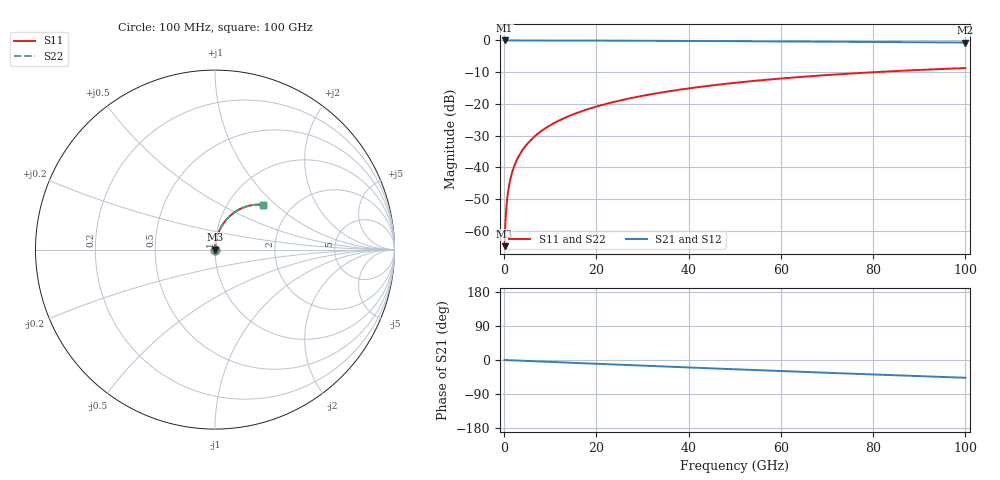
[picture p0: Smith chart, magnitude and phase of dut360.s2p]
! Touchstone file exported from HFSS 2026.1.0
!  File:  C:/ffzhzh/LocalFiles/Ansys_Project_Files/temp_train_TSV_360_1783510174_55944.aedt
!  Generated:  07:30:50 PM Jul  8, 2026
!  Design:  TSV
!  Project:  temp_train_TSV_360_1783510174_55944
! Variables:
!  h_bsmrdl = 2um
!  h_ox = 20um
!  h_rdl = 5um
!  h_sub = 79.44um
!  h_tmrdl = 5um
!  h_tsv = 79.44um
!  h_via = 3um
!  l_bsmrdl = 300um
!  l_sub = 412.08um
!  l_tmrdl = 200um
!  m_sub = 200um
!  pitch = 57.34um
!  r_tsv = 6.04um
!  s_tmrdl = 10um
!  w_bsmrdl = 18um
!  w_sub = 500um
!  w_tmrdl = 12um
!  x_tsv_center1 = 206um
!  x_tsv_center2 = 524um
!  x_tsv_center3 = 736um
!  x_tsv_center4 = 1054um
!  x_tsv_center5 = 1266um
!  x_tsv_center6 = 1584um
# GHz S MA R 50.000000
! Terminal data exported
! Port[1] = TSV1_1_T1
! Port[2] = TSV1_1_T2
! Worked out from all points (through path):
!   1000 points, 100 MHz to 100 GHz, reference 50 ohm
!   highest |S21| = 0.00 dB at 100 MHz (marker M1); lowest = -0.7 dB at 100 GHz (marker M2)
!   group delay of S21, straight-line fit = 1.3 ps
!   lowest |S11| = -64.8 dB at 100 MHz (marker M3), VSWR 1.00, Z = 50 + j0.0499 ohm
!   |S11| at or under -10 dB: start of sweep to 80.23 GHz
!   |S22| runs from -64.8 to -8.7 dB; largest |S21 - S12| = 3.5e-15
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0.1  0.0005727 60.6  0.9997 -0.1  0.9997 -0.1  0.0005727 60.6
! Gamma 0 0 0 0
! Port Impedance 50 0 50 0
0.3  0.001506 78.1  0.9997 -0.2  0.9997 -0.2  0.001506 78.1
0.7  0.003414 83.8  0.9996 -0.4  0.9996 -0.4  0.003414 83.8
0.8  0.003892 84.3  0.9996 -0.4  0.9996 -0.4  0.003892 84.3
1  0.004847 85.0  0.9996 -0.5  0.9996 -0.5  0.004847 85.0
1.3  0.006275 85.5  0.9996 -0.7  0.9996 -0.7  0.006275 85.5
1.7  0.008166 85.7  0.9995 -0.9  0.9995 -0.9  0.008166 85.7
2.3  0.01098 85.8  0.9994 -1.2  0.9994 -1.2  0.01098 85.8
3  0.01422 85.7  0.9992 -1.5  0.9992 -1.5  0.01422 85.7
3.8  0.0179 85.6  0.9991 -1.9  0.9991 -1.9  0.0179 85.6
4.8  0.02248 85.3  0.9989 -2.4  0.9989 -2.4  0.02248 85.3
6  0.02796 84.9  0.9986 -3.0  0.9986 -3.0  0.02796 85.0
8.8  0.0407 83.9  0.998 -4.4  0.998 -4.4  0.0407 83.9
12.4  0.05696 82.3  0.9969 -6.2  0.9969 -6.2  0.05696 82.3
16.8  0.07663 80.4  0.9954 -8.4  0.9954 -8.4  0.07663 80.4
24.2  0.1092 76.9  0.992 -12.0  0.992 -12.0  0.1092 76.9
33.4  0.1484 72.6  0.9866 -16.5  0.9866 -16.5  0.1484 72.6
41.2  0.1804 68.9  0.9811 -20.3  0.9811 -20.3  0.1804 68.9
50.1  0.2151 64.8  0.9738 -24.5  0.9738 -24.5  0.2151 64.8
66.7  0.2742 57.2  0.9586 -32.2  0.9586 -32.2  0.2742 57.2
83.4  0.3253 49.8  0.9423 -39.7  0.9423 -39.7  0.3253 49.8
100  0.367 42.7  0.9267 -46.9  0.9267 -46.9  0.367 42.7
